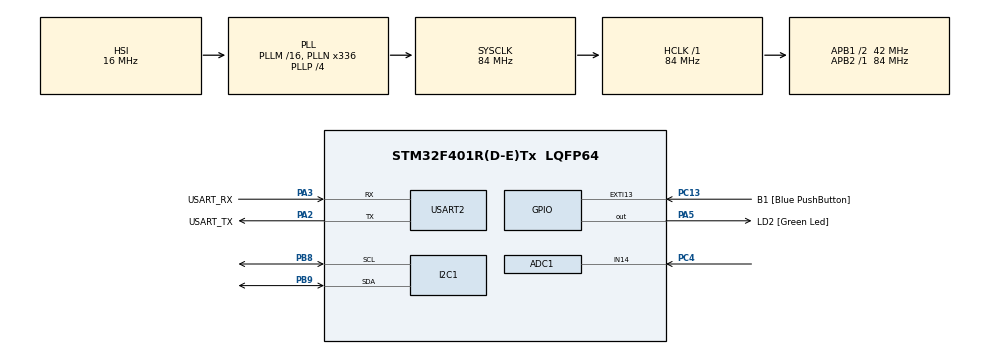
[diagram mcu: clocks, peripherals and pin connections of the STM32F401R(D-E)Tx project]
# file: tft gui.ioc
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ADC1.Channel-0\#ChannelRegularConversion=ADC_CHANNEL_14
ADC1.ContinuousConvMode=ENABLE
ADC1.DMAContinuousRequests=DISABLE
ADC1.NbrOfConversionFlag=1
ADC1.Rank-0\#ChannelRegularConversion=1
ADC1.SamplingTime-0\#ChannelRegularConversion=ADC_SAMPLETIME_3CYCLES
ADC1.master=1
Mcu.Family=STM32F4
Mcu.Name=STM32F401R(D-E)Tx
Mcu.Package=LQFP64
NVIC.PriorityGroup=NVIC_PRIORITYGROUP_0
PA13.GPIO_Label=TMS
PA13.Mode=Serial_Wire
PA13.Signal=SYS_JTMS-SWDIO
PA14.GPIO_Label=TCK
PA14.Mode=Serial_Wire
PA14.Signal=SYS_JTCK-SWCLK
PA2.GPIO_Label=USART_TX
PA2.GPIO_Mode=GPIO_MODE_AF_PP
PA2.GPIO_PuPd=GPIO_NOPULL
PA2.GPIO_Speed=GPIO_SPEED_FREQ_LOW
PA2.Mode=Asynchronous
PA2.Signal=USART2_TX
PA3.GPIO_Label=USART_RX
PA3.GPIO_Mode=GPIO_MODE_AF_PP
PA3.GPIO_PuPd=GPIO_NOPULL
PA3.GPIO_Speed=GPIO_SPEED_FREQ_LOW
PA3.Mode=Asynchronous
PA3.Signal=USART2_RX
PA5.GPIO_Label=LD2 [Green Led]
PA5.GPIO_Mode=GPIO_MODE_OUTPUT_PP
PA5.GPIO_PuPd=GPIO_NOPULL
PA5.GPIO_Speed=GPIO_SPEED_FREQ_LOW
PA5.Signal=GPIO_Output
PB3.GPIO_Label=SWO
PB3.Signal=SYS_JTDO-SWO
PB8.Mode=I2C
PB8.Signal=I2C1_SCL
PB9.Mode=I2C
PB9.Signal=I2C1_SDA
PC13-ANTI_TAMP.GPIO_Label=B1 [Blue PushButton]
PC13-ANTI_TAMP.GPIO_ModeDefaultEXTI=GPIO_MODE_IT_FALLING
PC13-ANTI_TAMP.GPIO_PuPd=GPIO_NOPULL
PC13-ANTI_TAMP.Signal=GPXTI13
PC14-OSC32_IN.Mode=LSE-External-Oscillator
PC14-OSC32_IN.Signal=RCC_OSC32_IN
PC15-OSC32_OUT.Mode=LSE-External-Oscillator
PC15-OSC32_OUT.Signal=RCC_OSC32_OUT
PC4.Signal=ADCx_IN14
PH0\ -\ OSC_IN.Mode=HSE-External-Clock-Source
PH0\ -\ OSC_IN.Signal=RCC_OSC_IN
PH1\ -\ OSC_OUT.Mode=HSE-External-Clock-Source
PH1\ -\ OSC_OUT.Signal=RCC_OSC_OUT
ProjectManager.HeapSize=0x200
ProjectManager.StackSize=0x400
ProjectManager.TargetToolchain=STM32CubeIDE
RCC.48MHZClocksFreq_Value=48000000
RCC.AHBFreq_Value=84000000
RCC.APB1CLKDivider=RCC_HCLK_DIV2
RCC.APB1Freq_Value=42000000
RCC.APB1TimFreq_Value=84000000
RCC.APB2Freq_Value=84000000
RCC.APB2TimFreq_Value=84000000
RCC.CortexFreq_Value=84000000
RCC.HCLKFreq_Value=84000000
RCC.HSE_VALUE=8000000
RCC.HSI_VALUE=16000000
RCC.PLLN=336
RCC.PLLP=RCC_PLLP_DIV4
RCC.PLLQ=7
RCC.SYSCLKFreq_VALUE=84000000
RCC.SYSCLKSource=RCC_SYSCLKSOURCE_PLLCLK
RCC.VCOOutputFreq_Value=336000000
SH.ADCx_IN14.0=ADC1_IN14,IN14
USART2.VirtualMode=VM_ASYNC
board=NUCLEO-F401RE

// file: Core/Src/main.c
/* USER CODE BEGIN Header */
/**
 ******************************************************************************
 * @file           : main.c
 * @brief          : Main program body
 ******************************************************************************
 * @attention
 *
 * Copyright (c) 2023 STMicroelectronics.
 * All rights reserved.
 *
 * This software is licensed under terms that can be found in the LICENSE file
 * in the root directory of this software component.
 * If no LICENSE file comes with this software, it is provided AS-IS.
 *
 ******************************************************************************
 */
/* USER CODE END Header */
#include "main.h"

/* USER CODE BEGIN Includes */
#include "BML_DEF.h"
#include "uart.h"
#include "MLX90614.h"
#include "st7783.h"
#include "FakeECG.h"
/* USER CODE END Includes */

/* USER CODE BEGIN PD */
#define graphRefreshRate_peak			2
#define graphRefreshRate_normal			5

#define ECG_Print		0
#define Temp_Print		0
#define Oximeter_Print	1
/* USER CODE END PD */

ADC_HandleTypeDef hadc1;

I2C_HandleTypeDef hi2c1;

UART_HandleTypeDef huart2;

/* USER CODE BEGIN PV */
#define ADC_BUF_LEN	4096
#define PRINT_CHAR_LEN	100

const int graph_x0 = 30;
const int graph_y0 = (2 * (TFTHEIGHT / 3)) + 30;
const int graph_x1 = 30;
const int graph_y1 = graph_y0 + 50;
const int graph_x2 = graph_x0 + TFTWIDTH - 95;
const int graph_y2 = graph_y0;
const int graph_x3 = graph_x0 + TFTWIDTH - 95;
const int graph_y3 = graph_y0 + 50;
int graph_x = graph_x0;
int graph_y = 0;
int graph_y_prevVal = 0;
int graph_refresh_x = graph_x0;

float temp = 0;
/* USER CODE END PV */

void SystemClock_Config(void);
static void MX_GPIO_Init(void);
static void MX_USART2_UART_Init(void);
static void MX_ADC1_Init(void);
static void MX_I2C1_Init(void);
/* USER CODE BEGIN PFP */
void HMS_bgdisplay(void);

uint16_t adc_buf[ADC_BUF_LEN] = { 0 };
char print_char[PRINT_CHAR_LEN] = { 0 };
uint16_t adcData;

/* USER CODE END PFP */

int main(void) {

	/* MCU Configuration--------------------------------------------------------*/

	/* Reset of all peripherals, Initializes the Flash interface and the Systick. */
	HAL_Init();

	/* Configure the system clock */
	SystemClock_Config();

	/* USER CODE BEGIN SysInit */
	LCD_Begin();
	/* USER CODE END SysInit */

	/* Initialize all configured peripherals */
	MX_GPIO_Init();
	MX_USART2_UART_Init();
	MX_ADC1_Init();
	MX_I2C1_Init();
	/* USER CODE BEGIN 2 */
	uart_print_config(9600);
	print("Working\n");
//	HAL_ADC_Start_DMA(&hadc1, (uint32_t*) adc_buf, ADC_BUF_LEN);

	uint8_t mlx90614_wrokingFlag = 1, status = 0;

	if (!(mlx90614_init())) {
		print("Error in MLX90614 INIT\n");
		mlx90614_wrokingFlag = 0;
	}

//	LCD_FillScreen(BLACK);

	HMS_bgdisplay();
//	HAL_ADC_Start(&hadc1);

	uint16_t i = 0, j = 0, start = 0, end = 0;

	/* USER CODE END 2 */

	/* Infinite loop */
	/* USER CODE BEGIN WHILE */
	while (1) {
//		end = HAL_GetTick();
//		HAL_ADC_Start(&hadc1);
//		HAL_ADC_PollForConversion(&hadc1, 100);
//		adcData = (uint16_t) HAL_ADC_GetValue(&hadc1);

		adcData = fakeECGData[i];
		i = (i + 1) % 5000;
		LCD_DrawGraph(adcData);

		status = mlx90614_getObject1(&temp);
		if (status == 1) {
			print("Temp in Celsius: = %0.2f\n", temp);
		}

//		sprintf(print_char, "%d\n", adcData);
//		USART_WRITE(USART2, print_char, strlen(print_char), 100);

//		if (HAL_GetTick() - start > 1) {
//			sprintf(print_char, "%d\n", adcData);
//			USART_WRITE(USART2, print_char, strlen(print_char), 100);
//			start = HAL_GetTick();
//		}

//		HAL_Delay(100);
		/* USER CODE END WHILE */

	}
}

void SystemClock_Config(void) {
	RCC_OscInitTypeDef RCC_OscInitStruct = { 0 };
	RCC_ClkInitTypeDef RCC_ClkInitStruct = { 0 };

	/** Configure the main internal regulator output voltage
	 */
	__HAL_RCC_PWR_CLK_ENABLE();
	__HAL_PWR_VOLTAGESCALING_CONFIG(PWR_REGULATOR_VOLTAGE_SCALE2);

	/** Initializes the RCC Oscillators according to the specified parameters
	 * in the RCC_OscInitTypeDef structure.
	 */
	RCC_OscInitStruct.OscillatorType = RCC_OSCILLATORTYPE_HSI;
	RCC_OscInitStruct.HSIState = RCC_HSI_ON;
	RCC_OscInitStruct.HSICalibrationValue = RCC_HSICALIBRATION_DEFAULT;
	RCC_OscInitStruct.PLL.PLLState = RCC_PLL_ON;
	RCC_OscInitStruct.PLL.PLLSource = RCC_PLLSOURCE_HSI;
	RCC_OscInitStruct.PLL.PLLM = 16;
	RCC_OscInitStruct.PLL.PLLN = 336;
	RCC_OscInitStruct.PLL.PLLP = RCC_PLLP_DIV4;
	RCC_OscInitStruct.PLL.PLLQ = 7;
	if (HAL_RCC_OscConfig(&RCC_OscInitStruct) != HAL_OK) {
		Error_Handler();
	}

	/** Initializes the CPU, AHB and APB buses clocks
	 */
	RCC_ClkInitStruct.ClockType = RCC_CLOCKTYPE_HCLK | RCC_CLOCKTYPE_SYSCLK
			| RCC_CLOCKTYPE_PCLK1 | RCC_CLOCKTYPE_PCLK2;
	RCC_ClkInitStruct.SYSCLKSource = RCC_SYSCLKSOURCE_PLLCLK;
	RCC_ClkInitStruct.AHBCLKDivider = RCC_SYSCLK_DIV1;
	RCC_ClkInitStruct.APB1CLKDivider = RCC_HCLK_DIV2;
	RCC_ClkInitStruct.APB2CLKDivider = RCC_HCLK_DIV1;

	if (HAL_RCC_ClockConfig(&RCC_ClkInitStruct, FLASH_LATENCY_2) != HAL_OK) {
		Error_Handler();
	}
}

static void MX_ADC1_Init(void) {

	ADC_ChannelConfTypeDef sConfig = { 0 };

	/** Configure the global features of the ADC (Clock, Resolution, Data Alignment and number of conversion)
	 */
	hadc1.Instance = ADC1;
	hadc1.Init.ClockPrescaler = ADC_CLOCK_SYNC_PCLK_DIV4;
	hadc1.Init.Resolution = ADC_RESOLUTION_12B;
	hadc1.Init.ScanConvMode = DISABLE;
	hadc1.Init.ContinuousConvMode = ENABLE;
	hadc1.Init.DiscontinuousConvMode = DISABLE;
	hadc1.Init.ExternalTrigConvEdge = ADC_EXTERNALTRIGCONVEDGE_NONE;
	hadc1.Init.ExternalTrigConv = ADC_SOFTWARE_START;
	hadc1.Init.DataAlign = ADC_DATAALIGN_RIGHT;
	hadc1.Init.NbrOfConversion = 1;
	hadc1.Init.DMAContinuousRequests = DISABLE;
	hadc1.Init.EOCSelection = ADC_EOC_SINGLE_CONV;
	if (HAL_ADC_Init(&hadc1) != HAL_OK) {
		Error_Handler();
	}

	/** Configure for the selected ADC regular channel its corresponding rank in the sequencer and its sample time.
	 */
	sConfig.Channel = ADC_CHANNEL_14;
	sConfig.Rank = 1;
	sConfig.SamplingTime = ADC_SAMPLETIME_3CYCLES;
	if (HAL_ADC_ConfigChannel(&hadc1, &sConfig) != HAL_OK) {
		Error_Handler();
	}

}

static void MX_I2C1_Init(void) {

	hi2c1.Instance = I2C1;
	hi2c1.Init.ClockSpeed = 100000;
	hi2c1.Init.DutyCycle = I2C_DUTYCYCLE_2;
	hi2c1.Init.OwnAddress1 = 0;
	hi2c1.Init.AddressingMode = I2C_ADDRESSINGMODE_7BIT;
	hi2c1.Init.DualAddressMode = I2C_DUALADDRESS_DISABLE;
	hi2c1.Init.OwnAddress2 = 0;
	hi2c1.Init.GeneralCallMode = I2C_GENERALCALL_DISABLE;
	hi2c1.Init.NoStretchMode = I2C_NOSTRETCH_DISABLE;
	if (HAL_I2C_Init(&hi2c1) != HAL_OK) {
		Error_Handler();
	}

}

static void MX_USART2_UART_Init(void) {

	huart2.Instance = USART2;
	huart2.Init.BaudRate = 115200;
	huart2.Init.WordLength = UART_WORDLENGTH_8B;
	huart2.Init.StopBits = UART_STOPBITS_1;
	huart2.Init.Parity = UART_PARITY_NONE;
	huart2.Init.Mode = UART_MODE_TX_RX;
	huart2.Init.HwFlowCtl = UART_HWCONTROL_NONE;
	huart2.Init.OverSampling = UART_OVERSAMPLING_16;
	if (HAL_UART_Init(&huart2) != HAL_OK) {
		Error_Handler();
	}

}

static void MX_GPIO_Init(void) {
	GPIO_InitTypeDef GPIO_InitStruct = { 0 };

	/* GPIO Ports Clock Enable */
	__HAL_RCC_GPIOC_CLK_ENABLE();
	__HAL_RCC_GPIOH_CLK_ENABLE();
	__HAL_RCC_GPIOA_CLK_ENABLE();
	__HAL_RCC_GPIOB_CLK_ENABLE();

	/*Configure GPIO pin Output Level */
	HAL_GPIO_WritePin(LD2_GPIO_Port, LD2_Pin, GPIO_PIN_RESET);

	/*Configure GPIO pin : B1_Pin */
	GPIO_InitStruct.Pin = B1_Pin;
	GPIO_InitStruct.Mode = GPIO_MODE_IT_FALLING;
	GPIO_InitStruct.Pull = GPIO_NOPULL;
	HAL_GPIO_Init(B1_GPIO_Port, &GPIO_InitStruct);

	/*Configure GPIO pin : LD2_Pin */
	GPIO_InitStruct.Pin = LD2_Pin;
	GPIO_InitStruct.Mode = GPIO_MODE_OUTPUT_PP;
	GPIO_InitStruct.Pull = GPIO_NOPULL;
	GPIO_InitStruct.Speed = GPIO_SPEED_FREQ_LOW;
	HAL_GPIO_Init(LD2_GPIO_Port, &GPIO_InitStruct);

}

/* USER CODE BEGIN 4 */
void HMS_bgdisplay(void) {

	colorgradient(0, 0, TFTWIDTH, TFTHEIGHT, 50);

	//===================== | Border |===============================//
	for (uint16_t i = 5; i > 0; i--) {
		LCD_DrawRect(i, i, TFTWIDTH - 2 * i, TFTHEIGHT - 2 * i, WHITE);
	}

	LCD_DrawHBorder(0, TFTHEIGHT / 3, TFTWIDTH, WHITE, 5);
	LCD_DrawHBorder(0, 2 * (TFTHEIGHT / 3), TFTWIDTH, WHITE, 5);
	//===============================================================//

	//===================== | Box 1 |===============================//

	LCD_DrawButton1(" ", 20, 20, TFTWIDTH - 40, (TFTHEIGHT / 3) - 40, 10, CYAN,
	WHITE, 0, 2, 2, 2);

	LCD_SetTextSize(2);
	LCD_SetTextColor(WHITE, CYAN);
	LCD_SetCursor(((TFTWIDTH - 20) / 3) + 15, 25);
	LCD_Printf("Health");
	LCD_SetCursor(((TFTWIDTH - 20) / 3) - 10, 45);
	LCD_Printf("Monitoring");
	LCD_SetCursor(((TFTWIDTH - 20) / 3) + 15, 65);
	LCD_Printf("System");

	//===============================================================//

	//===================== | Box 2 |===============================//

	LCD_FillRoundRect(15, (TFTHEIGHT / 3) + 15, TFTWIDTH - 35, 25, 5, RED);
	LCD_SetTextColor(WHITE, RED);
	LCD_SetCursor(20, (TFTHEIGHT / 3) + 20);
	LCD_SetTextSize(2);
	LCD_Printf("H.Rate: ");

	LCD_FillRoundRect(15, (TFTHEIGHT / 3) + 45, TFTWIDTH - 35, 25, 5, GREEN);
	LCD_SetTextColor(WHITE, GREEN);
	LCD_SetCursor(20, (TFTHEIGHT / 3) + 50);
	LCD_SetTextSize(2);
	LCD_Printf("SpO2: ");

	LCD_FillRoundRect(15, (TFTHEIGHT / 3) + 75, TFTWIDTH - 35, 25, 5, BLUE);
	LCD_SetTextColor(WHITE, BLUE);
	LCD_SetCursor(20, (TFTHEIGHT / 3) + 80);
	LCD_SetTextSize(2);
	LCD_Printf("Temp: ");

	//===============================================================//

	//========================= | Box 3 |============================//

	LCD_FillRect(20, (2 * (TFTHEIGHT / 3)) + 20, TFTWIDTH - 35, 70, WHITE);

	//===============================================================//

}

void LCD_DrawGraph(uint16_t value) {

	graph_y_prevVal = graph_y;
//	uint16_t mapVar = adcArr[adcArrTail];
//	adcArrTail = (adcArrTail + 1) % adcArrLen;
	uint16_t mapVar = value;
	uint8_t graphRefreshRate = 0;
	if (mapVar > 3000)
		mapVar = 3000;
	else if (mapVar < 1000)
		mapVar = 1000;
	graph_y = map(mapVar, 0, 4095, 243, 293);

	LCD_DrawLine(graph_x, graph_y0 + graph_y_prevVal,
			graph_x + graphRefreshRate_peak, graph_y0 + graph_y, RED);
	LCD_DrawLine(graph_x, graph_y0 + graph_y_prevVal - 1,
			graph_x + graphRefreshRate_peak, graph_y0 + graph_y - 1, RED);

	int a = graph_x;
	if (a + graphRefreshRate_peak >= graph_x2) {
		LCD_FillRect(20, (2 * (TFTHEIGHT / 3)) + 20, TFTWIDTH - 80, 70, WHITE);
		graph_x = graph_x0;
	} else {
		graph_x += graphRefreshRate_peak;
	}

}

/* USER CODE END 4 */

void Error_Handler(void) {
	__disable_irq();
	while (1) {
	}
}
